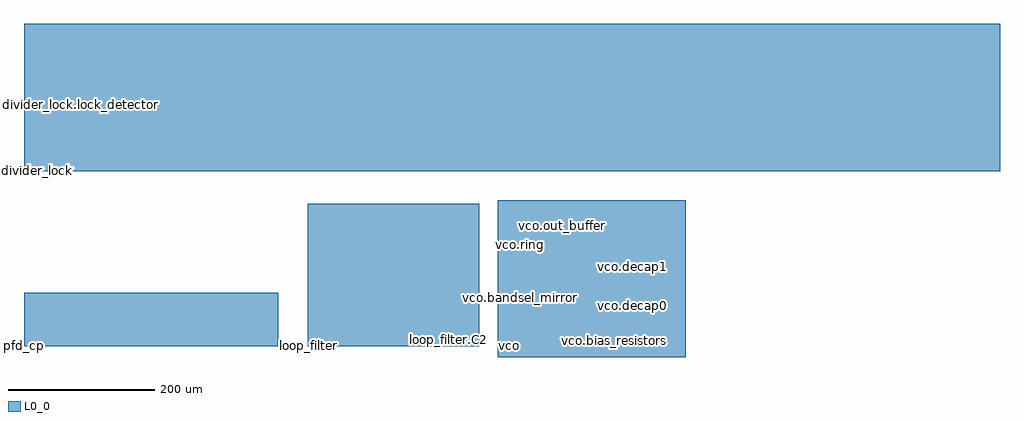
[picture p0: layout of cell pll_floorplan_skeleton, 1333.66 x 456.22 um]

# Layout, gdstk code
import gdstk
lib = gdstk.Library(unit=1e-6, precision=1e-09)
def R(c, l, rs):  # rectangles x0, y0, x1, y1
    for r in rs: c.add(gdstk.rectangle(r[:2], r[2:], *l))
L0_0 = (0, 0)

pll_floorplan_skeleton = lib.new_cell('pll_floorplan_skeleton')
R(pll_floorplan_skeleton, L0_0, [(647.41,-15,904.1,199.48), (0,0,347.41,73.23), (387.41,0,622.41,195), (662.41,0,889.1,184.48), (678.23,7.3,799.41,58.02), (805.91,7.52,818.91,47.84), (395.41,8,569.41,182), (579.41,8,610.81,39.4), (830.95,55.13,880.95,105.13), (676.93,66.02,792.79,132.24), (830.95,108.13,880.95,158.13), (677.65,138.24,753.05,157.9), (734.65,163.9,766.3,177.18), (0,239.48,1333.66,441.22), (8,247.48,1325.66,289.47), (8,329.47,302.8,433.22)])
pll_floorplan_skeleton.add(gdstk.Label('pfd_cp', (1,1), layer=0, texttype=0))
pll_floorplan_skeleton.add(gdstk.Label('loop_filter', (388.41,1), layer=0, texttype=0))
pll_floorplan_skeleton.add(gdstk.Label('vco', (663.41,1), layer=0, texttype=0))
pll_floorplan_skeleton.add(gdstk.Label('divider_lock', (1,240.48), layer=0, texttype=0))
pll_floorplan_skeleton.add(gdstk.Label('vco.guard_ring', (648.41,-14), layer=0, texttype=0))
pll_floorplan_skeleton.add(gdstk.Label('loop_filter.C1_array', (396.41,9), layer=0, texttype=0))
pll_floorplan_skeleton.add(gdstk.Label('loop_filter.C2', (580.41,9), layer=0, texttype=0))
pll_floorplan_skeleton.add(gdstk.Label('vco.decap0', (831.95,56.13), layer=0, texttype=0))
pll_floorplan_skeleton.add(gdstk.Label('vco.decap1', (831.95,109.13), layer=0, texttype=0))
pll_floorplan_skeleton.add(gdstk.Label('vco.bandsel_mirror', (677.93,67.02), layer=0, texttype=0))
pll_floorplan_skeleton.add(gdstk.Label('vco.ring', (678.65,139.24), layer=0, texttype=0))
pll_floorplan_skeleton.add(gdstk.Label('vco.out_buffer', (735.65,164.9), layer=0, texttype=0))
pll_floorplan_skeleton.add(gdstk.Label('vco.vtoi_core', (679.23,8.3), layer=0, texttype=0))
pll_floorplan_skeleton.add(gdstk.Label('vco.bias_resistors', (806.91,8.52), layer=0, texttype=0))
pll_floorplan_skeleton.add(gdstk.Label('divider_lock.divider_chain', (9,248.48), layer=0, texttype=0))
pll_floorplan_skeleton.add(gdstk.Label('divider_lock.lock_detector', (9,330.47), layer=0, texttype=0))

lib.write_gds('pll_floorplan_skeleton.gds')
